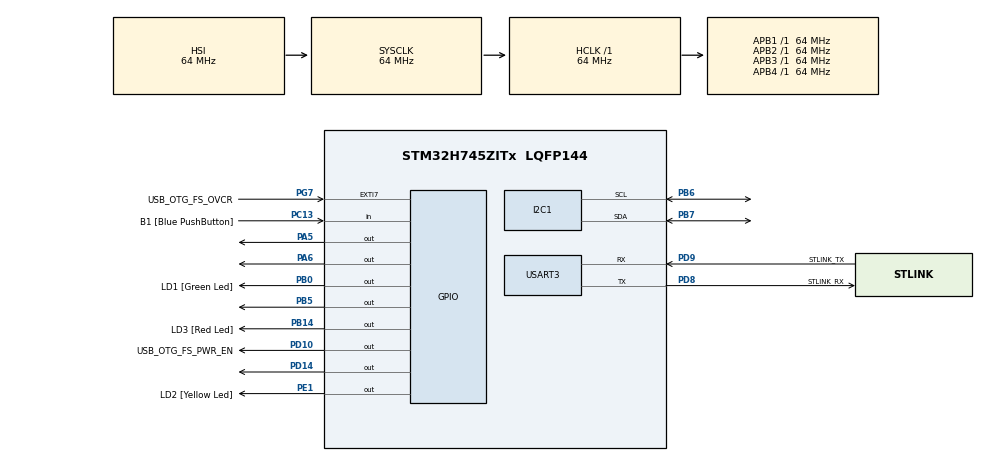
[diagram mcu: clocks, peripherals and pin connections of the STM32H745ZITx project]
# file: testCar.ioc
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CortexM4.IPs=FATFS_M4\:I,FREERTOS_M4\:I,IWDG2\:I,RCC,WWDG2\:I,DMA,BDMA,MDMA,NVIC2\:I,USART3,ETH,DEBUG,PDM2PCM_M4\:I,PWR,RESMGR_UTILITY,SYS_M4\:I,USB_DEVICE_M4\:I,USB_HOST_M4\:I,CORTEX_M4\:I,OPENAMP_M4\:I,VREFBUF
CortexM7.IPs=FATFS_M7\:I,FREERTOS_M7\:I,IWDG1\:I,RCC\:I,WWDG1\:I,DMA\:I,BDMA\:I,MDMA\:I,NVIC1\:I,SYS\:I,USART3\:I,USB_OTG_FS\:I,ETH\:I,CORTEX_M7\:I,DEBUG\:I,PDM2PCM_M7\:I,PWR\:I,RESMGR_UTILITY\:I,USB_DEVICE_M7\:I,USB_HOST_M7\:I,OPENAMP_M7\:I,VREFBUF\:I,I2C1\:I
CortexM7.Pins=PA5,PA6,PD14,PB5
Mcu.Family=STM32H7
Mcu.Name=STM32H745ZITx
Mcu.Package=LQFP144
NVIC1.PriorityGroup=NVIC_PRIORITYGROUP_4
NVIC2.PriorityGroup=NVIC_PRIORITYGROUP_4
PA1.PinAttribute=CortexM7
PA1.Signal=ETH_REF_CLK
PA11.PinAttribute=CortexM7
PA11.Signal=USB_OTG_FS_DM
PA12.PinAttribute=CortexM7
PA12.Signal=USB_OTG_FS_DP
PA2.PinAttribute=CortexM7
PA2.Signal=ETH_MDIO
PA5.PinAttribute=CortexM7
PA5.Signal=GPIO_Output
PA6.PinAttribute=CortexM7
PA6.Signal=GPIO_Output
PA7.PinAttribute=CortexM7
PA7.Signal=ETH_CRS_DV
PA8.PinAttribute=CortexM7
PA8.Signal=USB_OTG_FS_SOF
PA9.PinAttribute=CortexM7
PA9.Signal=USB_OTG_FS_VBUS
PB0.GPIO_Label=LD1 [Green Led]
PB0.PinAttribute=Free
PB0.Signal=GPIO_Output
PB13.PinAttribute=CortexM7
PB13.Signal=ETH_TXD1
PB14.GPIO_Label=LD3 [Red Led]
PB14.PinAttribute=Free
PB14.Signal=GPIO_Output
PB5.PinAttribute=CortexM7
PB5.Signal=GPIO_Output
PB6.GPIO_PuPd=GPIO_PULLUP
PB6.GPIO_Speed=GPIO_SPEED_FREQ_HIGH
PB6.Mode=I2C
PB6.PinAttribute=CortexM7
PB6.Signal=I2C1_SCL
PB7.GPIO_PuPd=GPIO_PULLUP
PB7.GPIO_Speed=GPIO_SPEED_FREQ_HIGH
PB7.Mode=I2C
PB7.PinAttribute=CortexM7
PB7.Signal=I2C1_SDA
PC1.PinAttribute=CortexM7
PC1.Signal=ETH_MDC
PC13.GPIO_Label=B1 [Blue PushButton]
PC13.PinAttribute=Free
PC13.Signal=GPIO_Input
PC14-OSC32_IN\ (OSC32_IN).PinAttribute=CortexM7
PC14-OSC32_IN\ (OSC32_IN).Signal=RCC_OSC32_IN
PC15-OSC32_OUT\ (OSC32_OUT).PinAttribute=CortexM7
PC15-OSC32_OUT\ (OSC32_OUT).Signal=RCC_OSC32_OUT
PC4.PinAttribute=CortexM7
PC4.Signal=ETH_RXD0
PC5.PinAttribute=CortexM7
PC5.Signal=ETH_RXD1
PD10.GPIO_Label=USB_OTG_FS_PWR_EN
PD10.PinAttribute=Free
PD10.Signal=GPIO_Output
PD14.PinAttribute=CortexM7
PD14.Signal=GPIO_Output
PD8.GPIO_Label=STLINK_RX
PD8.Mode=Asynchronous
PD8.PinAttribute=CortexM7
PD8.Signal=USART3_TX
PD9.GPIO_Label=STLINK_TX
PD9.Mode=Asynchronous
PD9.PinAttribute=CortexM7
PD9.Signal=USART3_RX
PE1.GPIO_Label=LD2 [Yellow Led]
PE1.PinAttribute=Free
PE1.Signal=GPIO_Output
PG11.PinAttribute=CortexM7
PG11.Signal=ETH_TX_EN
PG13.PinAttribute=CortexM7
PG13.Signal=ETH_TXD0
PG7.GPIO_Label=USB_OTG_FS_OVCR
PG7.PinAttribute=Free
PG7.Signal=GPXTI7
PH0-OSC_IN\ (PH0).PinAttribute=CortexM7
PH0-OSC_IN\ (PH0).Signal=RCC_OSC_IN
PH1-OSC_OUT\ (PH1).PinAttribute=CortexM7
PH1-OSC_OUT\ (PH1).Signal=RCC_OSC_OUT
ProjectManager.HeapSize=0x200
ProjectManager.StackSize=0x400
ProjectManager.TargetToolchain=STM32CubeIDE
RCC.ADCFreq_Value=129000000
RCC.APB1Freq_Value=64000000
RCC.APB2Freq_Value=64000000
RCC.APB3Freq_Value=64000000
RCC.APB4Freq_Value=64000000
RCC.CortexFreq_Value=64000000
RCC.DIVM1=18
RCC.DIVM3=22
RCC.DIVN3=169
RCC.DIVQ3=4
RCC.HCLKFreq_Value=64000000
RCC.PLL2FRACN=0
RCC.PLL3FRACN=0
RCC.PLLFRACN=0
RCC.SYSCLKFreq_VALUE=64000000
RCC.SupplySource=PWR_DIRECT_SMPS_SUPPLY
RCC.USBCLockSelection=RCC_USBCLKSOURCE_PLL3
RCC.USBFreq_Value=122909090.9090909
USART3.VirtualMode-Asynchronous=VM_ASYNC
VP_SYS_M4_VS_Systick.Mode=SysTick
board=NUCLEO-H745ZI-Q

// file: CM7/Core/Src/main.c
/* USER CODE BEGIN Header */
/**
 ******************************************************************************
 * @file           : main.c
 * @brief          : Main program body
 ******************************************************************************
 * @attention
 *
 * <h2><center>&copy; Copyright (c) 2021 STMicroelectronics.
 * All rights reserved.</center></h2>
 *
 * This software component is licensed by ST under BSD 3-Clause license,
 * the "License"; You may not use this file except in compliance with the
 * License. You may obtain a copy of the License at:
 *                        opensource.org/licenses/BSD-3-Clause
 *
 ******************************************************************************
 */
/* USER CODE END Header */
#include "main.h"
#include <vl53l0x.h>

/* USER CODE BEGIN PD */

#ifndef HSEM_ID_0
#define HSEM_ID_0 (0U) /* HW semaphore 0*/
#endif
/* USER CODE END PD */

I2C_HandleTypeDef hi2c1;

UART_HandleTypeDef huart3;

/* USER CODE BEGIN PV */
char speech_c[128];
int speech_len;
/* USER CODE END PV */

void SystemClock_Config(void);
static void MX_GPIO_Init(void);
static void MX_I2C1_Init(void);
static void MX_USART3_UART_Init(void);

/* USER CODE BEGIN 0 */
void init()
{
    HAL_GPIO_WritePin(GPIOA, GPIO_PIN_5, GPIO_PIN_RESET);  // left+
    HAL_GPIO_WritePin(GPIOA, GPIO_PIN_6, GPIO_PIN_RESET);  // left-
    HAL_GPIO_WritePin(GPIOB, GPIO_PIN_5, GPIO_PIN_RESET);  // right+
    HAL_GPIO_WritePin(GPIOD, GPIO_PIN_14, GPIO_PIN_RESET); // right-
}
void turnLeft()
{

    HAL_GPIO_WritePin(GPIOA, GPIO_PIN_6, GPIO_PIN_SET);
    HAL_GPIO_WritePin(GPIOB, GPIO_PIN_5, GPIO_PIN_SET);
}

void turnRight()
{
    HAL_GPIO_WritePin(GPIOA, GPIO_PIN_5, GPIO_PIN_SET);
    HAL_GPIO_WritePin(GPIOD, GPIO_PIN_14, GPIO_PIN_SET);
}

void forward()
{
    HAL_GPIO_WritePin(GPIOA, GPIO_PIN_6, GPIO_PIN_SET);
    HAL_GPIO_WritePin(GPIOD, GPIO_PIN_14, GPIO_PIN_SET);
}
void backward()
{
    HAL_GPIO_WritePin(GPIOA, GPIO_PIN_5, GPIO_PIN_SET);
    HAL_GPIO_WritePin(GPIOB, GPIO_PIN_5, GPIO_PIN_SET);
}

/* USER CODE END 0 */

int main(void)
{
    /* USER CODE BEGIN Boot_Mode_Sequence_0 */
    int32_t timeout;
    /* USER CODE END Boot_Mode_Sequence_0 */

    /* USER CODE BEGIN Boot_Mode_Sequence_1 */
    /* Wait until CPU2 boots and enters in stop mode or timeout*/
    timeout = 0xFFFF;
    while ((__HAL_RCC_GET_FLAG(RCC_FLAG_D2CKRDY) != RESET) && (timeout-- > 0))
        ;
    if (timeout < 0) {
        Error_Handler();
    }
    /* USER CODE END Boot_Mode_Sequence_1 */
    /* MCU Configuration--------------------------------------------------------*/

    /* Reset of all peripherals, Initializes the Flash interface and the Systick. */
    HAL_Init();

    /* USER CODE BEGIN Init */
    tofInit(0);
    /* USER CODE END Init */

    /* Configure the system clock */
    SystemClock_Config();
    /* USER CODE BEGIN Boot_Mode_Sequence_2 */
    /* When system initialization is finished, Cortex-M7 will release Cortex-M4 by means of
    HSEM notification */
    /*HW semaphore Clock enable*/
    __HAL_RCC_HSEM_CLK_ENABLE();
    /*Take HSEM */
    HAL_HSEM_FastTake(HSEM_ID_0);
    /*Release HSEM in order to notify the CPU2(CM4)*/
    HAL_HSEM_Release(HSEM_ID_0, 0);
    /* wait until CPU2 wakes up from stop mode */
    timeout = 0xFFFF;
    while ((__HAL_RCC_GET_FLAG(RCC_FLAG_D2CKRDY) == RESET) && (timeout-- > 0))
        ;
    if (timeout < 0) {
        Error_Handler();
    }
    /* USER CODE END Boot_Mode_Sequence_2 */

    /* Initialize all configured peripherals */
    MX_GPIO_Init();
    MX_I2C1_Init();
    MX_USART3_UART_Init();
    /* USER CODE BEGIN 2 */
    HAL_UART_Transmit(&huart3, (uint8_t *)"Reset!\n\r", sizeof("Reset!\n\r") - 1, HAL_MAX_DELAY);
    int iDistance;

    /* USER CODE END 2 */

    /* Infinite loop */
    while (1) {

        iDistance = tofReadDistance();
        speech_len = sprintf(speech_c, "Distance = %d\n\r", iDistance);
        HAL_UART_Transmit(&huart3, speech_c, speech_len, HAL_MAX_DELAY);
        if (iDistance <= 120 && iDistance > 30) {
            init();
            HAL_Delay(1000);
            backward();
            HAL_Delay(1000);
            init();
            turnRight();
            HAL_Delay(1000);
            init();
            forward();
            HAL_Delay(1000);
            init();
            turnLeft();
            HAL_Delay(1000);
        }
        else {
            init();
            forward();
            HAL_Delay(100);
        }
    }
}

void SystemClock_Config(void)
{
    RCC_OscInitTypeDef RCC_OscInitStruct = {0};
    RCC_ClkInitTypeDef RCC_ClkInitStruct = {0};
    RCC_PeriphCLKInitTypeDef PeriphClkInitStruct = {0};

    /** Supply configuration update enable
     */
    HAL_PWREx_ConfigSupply(PWR_DIRECT_SMPS_SUPPLY);
    /** Configure the main internal regulator output voltage
     */
    __HAL_PWR_VOLTAGESCALING_CONFIG(PWR_REGULATOR_VOLTAGE_SCALE3);

    while (!__HAL_PWR_GET_FLAG(PWR_FLAG_VOSRDY)) {
    }
    /** Initializes the RCC Oscillators according to the specified parameters
     * in the RCC_OscInitTypeDef structure.
     */
    RCC_OscInitStruct.OscillatorType = RCC_OSCILLATORTYPE_HSI;
    RCC_OscInitStruct.HSIState = RCC_HSI_DIV1;
    RCC_OscInitStruct.HSICalibrationValue = RCC_HSICALIBRATION_DEFAULT;
    RCC_OscInitStruct.PLL.PLLState = RCC_PLL_NONE;
    if (HAL_RCC_OscConfig(&RCC_OscInitStruct) != HAL_OK) {
        Error_Handler();
    }
    /** Initializes the CPU, AHB and APB buses clocks
     */
    RCC_ClkInitStruct.ClockType = RCC_CLOCKTYPE_HCLK | RCC_CLOCKTYPE_SYSCLK | RCC_CLOCKTYPE_PCLK1 |
                                  RCC_CLOCKTYPE_PCLK2 | RCC_CLOCKTYPE_D3PCLK1 | RCC_CLOCKTYPE_D1PCLK1;
    RCC_ClkInitStruct.SYSCLKSource = RCC_SYSCLKSOURCE_HSI;
    RCC_ClkInitStruct.SYSCLKDivider = RCC_SYSCLK_DIV1;
    RCC_ClkInitStruct.AHBCLKDivider = RCC_HCLK_DIV1;
    RCC_ClkInitStruct.APB3CLKDivider = RCC_APB3_DIV1;
    RCC_ClkInitStruct.APB1CLKDivider = RCC_APB1_DIV1;
    RCC_ClkInitStruct.APB2CLKDivider = RCC_APB2_DIV1;
    RCC_ClkInitStruct.APB4CLKDivider = RCC_APB4_DIV1;

    if (HAL_RCC_ClockConfig(&RCC_ClkInitStruct, FLASH_LATENCY_0) != HAL_OK) {
        Error_Handler();
    }
    PeriphClkInitStruct.PeriphClockSelection = RCC_PERIPHCLK_USART3 | RCC_PERIPHCLK_I2C1;
    PeriphClkInitStruct.Usart234578ClockSelection = RCC_USART234578CLKSOURCE_D2PCLK1;
    PeriphClkInitStruct.I2c123ClockSelection = RCC_I2C123CLKSOURCE_D2PCLK1;
    if (HAL_RCCEx_PeriphCLKConfig(&PeriphClkInitStruct) != HAL_OK) {
        Error_Handler();
    }
}

static void MX_I2C1_Init(void)
{

    hi2c1.Instance = I2C1;
    hi2c1.Init.Timing = 0x10707DBC;
    hi2c1.Init.OwnAddress1 = 0;
    hi2c1.Init.AddressingMode = I2C_ADDRESSINGMODE_7BIT;
    hi2c1.Init.DualAddressMode = I2C_DUALADDRESS_DISABLE;
    hi2c1.Init.OwnAddress2 = 0;
    hi2c1.Init.OwnAddress2Masks = I2C_OA2_NOMASK;
    hi2c1.Init.GeneralCallMode = I2C_GENERALCALL_DISABLE;
    hi2c1.Init.NoStretchMode = I2C_NOSTRETCH_DISABLE;
    if (HAL_I2C_Init(&hi2c1) != HAL_OK) {
        Error_Handler();
    }
    /** Configure Analogue filter
     */
    if (HAL_I2CEx_ConfigAnalogFilter(&hi2c1, I2C_ANALOGFILTER_ENABLE) != HAL_OK) {
        Error_Handler();
    }
    /** Configure Digital filter
     */
    if (HAL_I2CEx_ConfigDigitalFilter(&hi2c1, 0) != HAL_OK) {
        Error_Handler();
    }
}

static void MX_USART3_UART_Init(void)
{

    huart3.Instance = USART3;
    huart3.Init.BaudRate = 115200;
    huart3.Init.WordLength = UART_WORDLENGTH_8B;
    huart3.Init.StopBits = UART_STOPBITS_1;
    huart3.Init.Parity = UART_PARITY_NONE;
    huart3.Init.Mode = UART_MODE_TX_RX;
    huart3.Init.HwFlowCtl = UART_HWCONTROL_NONE;
    huart3.Init.OverSampling = UART_OVERSAMPLING_16;
    huart3.Init.OneBitSampling = UART_ONE_BIT_SAMPLE_DISABLE;
    huart3.Init.ClockPrescaler = UART_PRESCALER_DIV1;
    huart3.AdvancedInit.AdvFeatureInit = UART_ADVFEATURE_NO_INIT;
    if (HAL_UART_Init(&huart3) != HAL_OK) {
        Error_Handler();
    }
    if (HAL_UARTEx_SetTxFifoThreshold(&huart3, UART_TXFIFO_THRESHOLD_1_8) != HAL_OK) {
        Error_Handler();
    }
    if (HAL_UARTEx_SetRxFifoThreshold(&huart3, UART_RXFIFO_THRESHOLD_1_8) != HAL_OK) {
        Error_Handler();
    }
    if (HAL_UARTEx_DisableFifoMode(&huart3) != HAL_OK) {
        Error_Handler();
    }
}

static void MX_GPIO_Init(void)
{
    GPIO_InitTypeDef GPIO_InitStruct = {0};

    /* GPIO Ports Clock Enable */
    __HAL_RCC_GPIOC_CLK_ENABLE();
    __HAL_RCC_GPIOH_CLK_ENABLE();
    __HAL_RCC_GPIOA_CLK_ENABLE();
    __HAL_RCC_GPIOB_CLK_ENABLE();
    __HAL_RCC_GPIOD_CLK_ENABLE();
    __HAL_RCC_GPIOG_CLK_ENABLE();

    /*Configure GPIO pin Output Level */
    HAL_GPIO_WritePin(GPIOA, GPIO_PIN_5 | GPIO_PIN_6, GPIO_PIN_RESET);

    /*Configure GPIO pin Output Level */
    HAL_GPIO_WritePin(GPIOD, GPIO_PIN_14, GPIO_PIN_RESET);

    /*Configure GPIO pin Output Level */
    HAL_GPIO_WritePin(GPIOB, GPIO_PIN_5, GPIO_PIN_RESET);

    /*Configure GPIO pins : PC1 PC4 PC5 */
    GPIO_InitStruct.Pin = GPIO_PIN_1 | GPIO_PIN_4 | GPIO_PIN_5;
    GPIO_InitStruct.Mode = GPIO_MODE_AF_PP;
    GPIO_InitStruct.Pull = GPIO_NOPULL;
    GPIO_InitStruct.Speed = GPIO_SPEED_FREQ_LOW;
    GPIO_InitStruct.Alternate = GPIO_AF11_ETH;
    HAL_GPIO_Init(GPIOC, &GPIO_InitStruct);

    /*Configure GPIO pins : PA1 PA2 PA7 */
    GPIO_InitStruct.Pin = GPIO_PIN_1 | GPIO_PIN_2 | GPIO_PIN_7;
    GPIO_InitStruct.Mode = GPIO_MODE_AF_PP;
    GPIO_InitStruct.Pull = GPIO_NOPULL;
    GPIO_InitStruct.Speed = GPIO_SPEED_FREQ_LOW;
    GPIO_InitStruct.Alternate = GPIO_AF11_ETH;
    HAL_GPIO_Init(GPIOA, &GPIO_InitStruct);

    /*Configure GPIO pins : PA5 PA6 */
    GPIO_InitStruct.Pin = GPIO_PIN_5 | GPIO_PIN_6;
    GPIO_InitStruct.Mode = GPIO_MODE_OUTPUT_PP;
    GPIO_InitStruct.Pull = GPIO_NOPULL;
    GPIO_InitStruct.Speed = GPIO_SPEED_FREQ_LOW;
    HAL_GPIO_Init(GPIOA, &GPIO_InitStruct);

    /*Configure GPIO pin : PB13 */
    GPIO_InitStruct.Pin = GPIO_PIN_13;
    GPIO_InitStruct.Mode = GPIO_MODE_AF_PP;
    GPIO_InitStruct.Pull = GPIO_NOPULL;
    GPIO_InitStruct.Speed = GPIO_SPEED_FREQ_LOW;
    GPIO_InitStruct.Alternate = GPIO_AF11_ETH;
    HAL_GPIO_Init(GPIOB, &GPIO_InitStruct);

    /*Configure GPIO pin : PD14 */
    GPIO_InitStruct.Pin = GPIO_PIN_14;
    GPIO_InitStruct.Mode = GPIO_MODE_OUTPUT_PP;
    GPIO_InitStruct.Pull = GPIO_NOPULL;
    GPIO_InitStruct.Speed = GPIO_SPEED_FREQ_LOW;
    HAL_GPIO_Init(GPIOD, &GPIO_InitStruct);

    /*Configure GPIO pins : PA8 PA11 PA12 */
    GPIO_InitStruct.Pin = GPIO_PIN_8 | GPIO_PIN_11 | GPIO_PIN_12;
    GPIO_InitStruct.Mode = GPIO_MODE_AF_PP;
    GPIO_InitStruct.Pull = GPIO_NOPULL;
    GPIO_InitStruct.Speed = GPIO_SPEED_FREQ_LOW;
    GPIO_InitStruct.Alternate = GPIO_AF10_OTG1_FS;
    HAL_GPIO_Init(GPIOA, &GPIO_InitStruct);

    /*Configure GPIO pins : PG11 PG13 */
    GPIO_InitStruct.Pin = GPIO_PIN_11 | GPIO_PIN_13;
    GPIO_InitStruct.Mode = GPIO_MODE_AF_PP;
    GPIO_InitStruct.Pull = GPIO_NOPULL;
    GPIO_InitStruct.Speed = GPIO_SPEED_FREQ_LOW;
    GPIO_InitStruct.Alternate = GPIO_AF11_ETH;
    HAL_GPIO_Init(GPIOG, &GPIO_InitStruct);

    /*Configure GPIO pin : PB5 */
    GPIO_InitStruct.Pin = GPIO_PIN_5;
    GPIO_InitStruct.Mode = GPIO_MODE_OUTPUT_PP;
    GPIO_InitStruct.Pull = GPIO_NOPULL;
    GPIO_InitStruct.Speed = GPIO_SPEED_FREQ_LOW;
    HAL_GPIO_Init(GPIOB, &GPIO_InitStruct);
}

void Error_Handler(void)
{
    __disable_irq();
    while (1) {
    }
}

/************************ (C) COPYRIGHT STMicroelectronics *****END OF FILE****/
